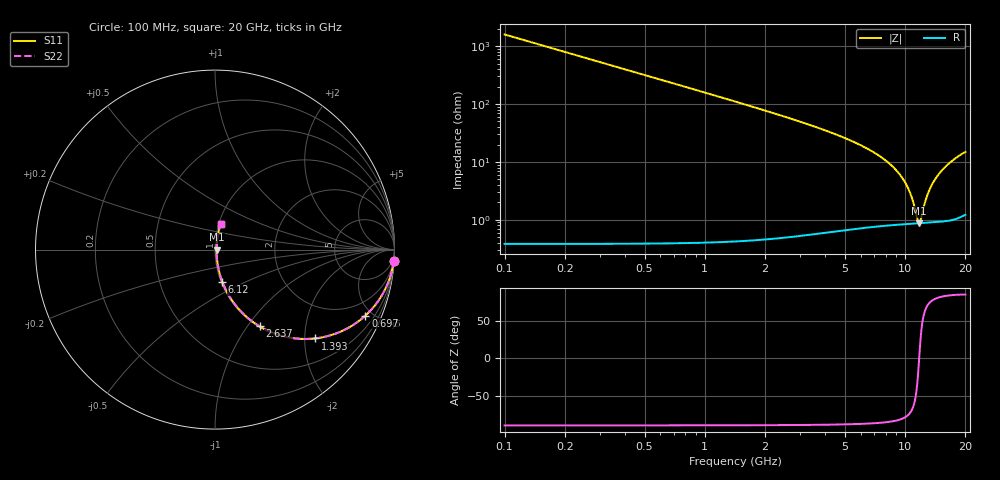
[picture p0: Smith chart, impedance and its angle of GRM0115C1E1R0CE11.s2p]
!Murata Part Number: GRM0115C1E1R0CE11
!These Parameters are Measured in Series Mode Connection
!Data Generated on Mar 30, 2021
!  o--ll--o
!Port1  Port2
!  o------o
!Operation Temp=25[degC], DC Bias Voltage=0[V]
!Freq. Start=100[MHz] Stop=20[GHz] 401[Steps]
# Hz S RI R 50
!Freq.(Hz) S11(Real) S11(Imag) S21(Real) S21(Imag) S12(Real) S12(Imag) S22(Real) S22(Imag)
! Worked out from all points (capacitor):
!   401 points, 100 MHz to 20 GHz, reference 50 ohm
!   read as one part in series: C = 1 pF near 199.5 MHz
!   lowest |Z| = 874 mohm at 11.74 GHz (marker M1)
!   series resonance near 11.76 GHz, so ESL is about 180 pH
!   S11 on the Smith chart (normalised r, x): 100 MHz: 1, -32; 697 MHz: 1.01, -4.55; 1.393 GHz: 1.01, -2.25; 2.637 GHz: 1.01, -1.14; 6.12 GHz: 1.01, -0.38; 20 GHz: 1.02, +0.30
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1e8  0.9961 -0.0626  0.00395 0.0626  0.00395 0.0626  0.9961 -0.0626
3.4875e8  0.9539 -0.2092  0.0461 0.2092  0.0461 0.2092  0.9539 -0.2092
4.98e8  0.9102 -0.2853  0.0898 0.2853  0.0898 0.2853  0.9102 -0.2853
6.97e8  0.8376 -0.3679  0.1624 0.3679  0.1624 0.3679  0.8376 -0.3679
9.955e8  0.7151 -0.4501  0.2849 0.4501  0.2849 0.4501  0.7151 -0.4501
1.3935e9  0.5584 -0.4947  0.4416 0.4947  0.4416 0.4947  0.5584 -0.4947
1.9905e9  0.376 -0.4814  0.624 0.4814  0.624 0.4814  0.376 -0.4814
2.63725e9  0.248 -0.4275  0.752 0.4275  0.752 0.4275  0.248 -0.4275
3.43325e9  0.1545 -0.3549  0.8455 0.3549  0.8455 0.3549  0.1545 -0.3549
6.11975e9  0.0405 -0.179  0.9595 0.179  0.9595 0.179  0.0405 -0.179
6.7665e9  0.0306 -0.1499  0.9694 0.1499  0.9694 0.1499  0.0306 -0.1499
8.70675e9  0.0145 -0.0798  0.9855 0.0798  0.9855 0.0798  0.0145 -0.0798
1.005e10  0.0101 -0.0414  0.9899 0.0414  0.9899 0.0414  0.0101 -0.0414
1.07465e10  0.00906 -0.0236  0.9909 0.0236  0.9909 0.0236  0.00906 -0.0236
1.15425e10  0.00865 -0.0048  0.9913 0.0048  0.9913 0.0048  0.00865 -0.0048
1.17415e10  0.00866 -0.000303  0.9913 0.000303  0.9913 0.000303  0.00866 -0.000303
1.19405e10  0.00871 0.00412  0.9913 -0.00412  0.9913 -0.00412  0.00871 0.00412
1.27365e10  0.00927 0.0211  0.9907 -0.0211  0.9907 -0.0211  0.00927 0.0211
1.338325e10  0.0101 0.0342  0.9899 -0.0342  0.9899 -0.0342  0.0101 0.0342
1.477625e10  0.0129 0.0605  0.9871 -0.0605  0.9871 -0.0605  0.0129 0.0605
1.67165e10  0.0186 0.0937  0.9814 -0.0937  0.9814 -0.0937  0.0186 0.0937
2e10  0.0328 0.1417  0.9672 -0.1417  0.9672 -0.1417  0.0328 0.1417
